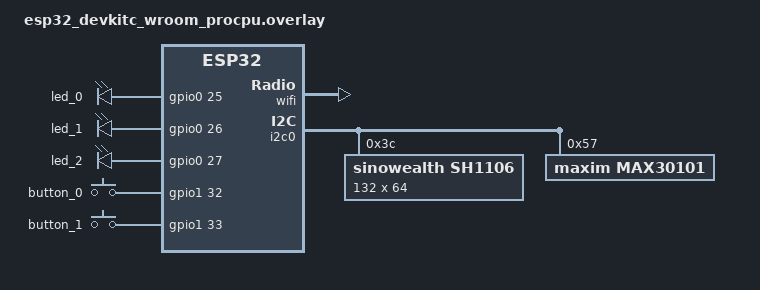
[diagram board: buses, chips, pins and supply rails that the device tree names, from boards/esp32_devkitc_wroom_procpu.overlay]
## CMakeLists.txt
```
cmake_minimum_required(VERSION 3.20.0)

find_package(Zephyr REQUIRED HINTS $ENV{ZEPHYR_BASE})
project(wifi_simple_mesh)

FILE(GLOB app_sources src/*.c)
target_sources(app PRIVATE ${app_sources})
```

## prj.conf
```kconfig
# Wi-Fi Configuration
CONFIG_WIFI=y

# Network Configuration
CONFIG_NET_CONFIG_AUTO_INIT=n
CONFIG_NET_CONNECTION_MANAGER=y
CONFIG_NET_IF_MAX_IPV4_COUNT=2
CONFIG_NET_IF_MAX_IPV6_COUNT=2
CONFIG_NET_IPV4=y
CONFIG_NET_L2_ETHERNET=y
CONFIG_NET_L2_WIFI_MGMT=y
CONFIG_NET_MGMT=y
CONFIG_NET_MGMT_EVENT=y
CONFIG_NET_MGMT_EVENT_INFO=y
CONFIG_NET_MGMT_EVENT_QUEUE_SIZE=20
CONFIG_NET_MGMT_EVENT_STACK_SIZE=4096
CONFIG_NET_PKT_RX_COUNT=16
CONFIG_NET_PKT_TX_COUNT=16
CONFIG_NET_BUF_RX_COUNT=80
CONFIG_NET_BUF_TX_COUNT=80
CONFIG_NET_SOCKETS_SERVICE_STACK_SIZE=4096
CONFIG_NET_TCP=y
CONFIG_NET_UDP=y
CONFIG_NETWORKING=y
CONFIG_NET_SOCKETS=y
CONFIG_NET_SOCKETS_POLL_MAX=12
CONFIG_POSIX_API=y

# Memory
CONFIG_KERNEL_MEM_POOL=y
CONFIG_HEAP_MEM_POOL_SIZE=46336
CONFIG_MAIN_STACK_SIZE=8192
# CONFIG_NET_BUF_DATA_SIZE=512

CONFIG_NET_DHCPV4=y
CONFIG_NET_DHCPV4_SERVER=y
CONFIG_NET_DHCPV4_SERVER_ADDR_LEASE_TIME=7200
CONFIG_NET_DHCPV4_SERVER_ADDR_COUNT=20

# LOG Configuration
CONFIG_NET_LOG=y
CONFIG_NET_DHCPV4_SERVER_LOG_LEVEL_DBG=y

#
CONFIG_GPIO=y
CONFIG_I2C=y
CONFIG_DISPLAY=y
CONFIG_SSD1306=y
CONFIG_SSD1306_DEFAULT_CONTRAST=128
CONFIG_CHARACTER_FRAMEBUFFER=y
CONFIG_SENSOR=y
```

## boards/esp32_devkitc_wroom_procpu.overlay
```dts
&wifi {
	status = "okay";
};

&i2c0 {
	sh1106: sh1106@3c {
		compatible = "sinowealth,sh1106";
		reg = <0x3c>;
		height = <64>;
		width = <132>;
		segment-offset = <0>;
		page-offset = <0>;
		display-offset = <0>;
		multiplex-ratio = <63>;
		prechargep = <0x22>;
		com-invdir;
		segment-remap;
	};
	max30101: max30101@57 {
		compatible = "maxim,max30101";
		reg = <0x57>;
	};
};

/ {
	aliases {
        led-g = &led_0;
		led-y = &led_1;
		led-r = &led_2;
		btn-top = &button_0;
		btn-bot = &button_1;
    };

	wifi_ap: wifi_ap {
		compatible = "espressif,esp32-wifi";
		status = "okay";
	};

	leds {
		compatible = "gpio-leds";
		led_0: d25 {
			gpios = <&gpio0 25 GPIO_ACTIVE_HIGH>;
		};
		led_1: d26 {
			gpios = <&gpio0 26 GPIO_ACTIVE_HIGH>;
		};
		led_2: d27 {
			gpios = <&gpio0 27 GPIO_ACTIVE_HIGH>;
		};
	};
	buttons {
		compatible = "gpio-keys";
		debounce-interval-ms = <30>;
		polling-mode;

		button_0: d32 {
			gpios = <&gpio1 32 (GPIO_ACTIVE_HIGH | GPIO_PULL_DOWN)>;
		};
		button_1: d33 {
			gpios = <&gpio1 33 (GPIO_ACTIVE_HIGH | GPIO_PULL_DOWN)>;
		};
	};
};
```

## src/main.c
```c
#include "mesh_config.h"
#include "zephyr_mesh.h"

#include <zephyr/logging/log.h>
#include <zephyr/drivers/gpio.h>

LOG_MODULE_REGISTER(MAIN);

// --- LED Timing Configuration ---
// All nodes will blink in sync using these shared timing parameters
#define LED_CYCLE_PERIOD_MS  4000  // Total LED cycle period (all nodes use the same)
#define CONN_BLINK_ON_MS     100   // Connection blink on duration
#define CONN_BLINK_OFF_MS    100   // Connection blink off duration
#define RECV_BLINK_MS        200   // Message received blink duration

// LED blink timing within the cycle (in milliseconds from cycle start)
#define BLINK1_START_MS      0
#define BLINK1_END_MS        100
#define BLINK2_START_MS      200
#define BLINK2_END_MS        300

static const struct gpio_dt_spec led_g = GPIO_DT_SPEC_GET(DT_ALIAS(led_g), gpios);
static const struct gpio_dt_spec led_y = GPIO_DT_SPEC_GET(DT_ALIAS(led_y), gpios);
static const struct gpio_dt_spec led_r = GPIO_DT_SPEC_GET(DT_ALIAS(led_r), gpios);

// --- Topology Definition ---
static const mesh_topology_t topology_map[] = {
    {1, 0}, // Node 1 is a root node (parent is router)
    {2, 1}, // Node 2's parent is Node 1
    {3, 1}, // Node 3's parent is Node 1
    {4, 3}, // Node 4's parent is Node 3
};

// --- Test Client Thread ---
static struct k_thread client_thread_data;
static k_tid_t client_tid;
K_THREAD_STACK_DEFINE(client_stack_area, 2048);

// --- LED Status Thread ---
static struct k_thread led_thread_data;
static k_tid_t led_tid;
K_THREAD_STACK_DEFINE(led_stack_area, 1024);

// --- Message received flash state ---
static volatile bool pending_recv_flash = false;

static void led_status_thread(void *arg1, void *arg2, void *arg3)
{
    LOG_INF("LED status thread started.");
    
    // Wait for clock sync before starting synchronized blinking
    LOG_INF("Waiting for clock synchronization...");
    while (!zephyr_mesh_is_clock_synced()) {
        // While waiting, show a slow amber blink to indicate "syncing"
        gpio_pin_set_dt(&led_y, 1);
        k_sleep(K_MSEC(500));
        gpio_pin_set_dt(&led_y, 0);
        k_sleep(K_MSEC(500));
    }
    LOG_INF("Clock synchronized! Starting synchronized LED blinking.");
    
    while (1) {
        // Get the synchronized mesh time
        int64_t mesh_time = zephyr_mesh_get_time_ms();
        
        // Calculate position within the LED cycle
        int64_t cycle_position = mesh_time % LED_CYCLE_PERIOD_MS;
        
        // Check for received messages - blink yellow LED
        if (zephyr_mesh_received_a_message()) {
            pending_recv_flash = true;
        }
        
        // Handle message received flash (takes priority, shown briefly)
        if (pending_recv_flash) {
            gpio_pin_set_dt(&led_y, 1);
            k_sleep(K_MSEC(RECV_BLINK_MS));
            gpio_pin_set_dt(&led_y, 0);
            pending_recv_flash = false;
            continue;  // Re-check timing after flash
        }
        
        // Connection status LED - synchronized double blink
        bool connected = zephyr_mesh_is_connected();
        
        // Determine if we should be ON based on cycle position
        bool should_be_on = false;
        if (cycle_position >= BLINK1_START_MS && cycle_position < BLINK1_END_MS) {
            should_be_on = true;
        } else if (cycle_position >= BLINK2_START_MS && cycle_position < BLINK2_END_MS) {
            should_be_on = true;
        }
        
        // Set LED state
        gpio_pin_set_dt(&led_g, (connected && should_be_on) ? 1 : 0);
        gpio_pin_set_dt(&led_r, (!connected && should_be_on) ? 1 : 0);
        
        // Calculate sleep time until next state change
        int64_t next_change;
        if (cycle_position < BLINK1_START_MS) {
            next_change = BLINK1_START_MS;
        } else if (cycle_position < BLINK1_END_MS) {
            next_change = BLINK1_END_MS;
        } else if (cycle_position < BLINK2_START_MS) {
            next_change = BLINK2_START_MS;
        } else if (cycle_position < BLINK2_END_MS) {
            next_change = BLINK2_END_MS;
        } else {
            // Wait until next cycle
            next_change = LED_CYCLE_PERIOD_MS;
        }
        
        int64_t sleep_time = next_change - cycle_position;
        if (sleep_time < 10) {
            sleep_time = 10;  // Minimum sleep to avoid busy spinning
        }
        
        k_sleep(K_MSEC(sleep_time));
    }
}

static void client_thread(void *arg1, void *arg2, void *arg3)
{
    LOG_INF("Client (sender) thread started.");
    
    // Wait for clock sync before starting test packets
    while (!zephyr_mesh_is_clock_synced()) {
        k_sleep(K_MSEC(100));
    }
    LOG_INF("Clock synced, will start sending test packets.");
    
    while (1) {
        k_sleep(K_SECONDS(15));

        // --- TEST CASES ---
        // All child nodes send packets up to Node 1
        if (NODE_ID == 2) {
            LOG_INF("Node 2 sending test packet to Node 1...");
            zephyr_mesh_send_packet(1, "Hello from Node 2!");
        }
        if (NODE_ID == 3) {
            LOG_INF("Node 3 sending test packet to Node 1...");
            zephyr_mesh_send_packet(1, "Hello from Node 3!");
        }
        if (NODE_ID == 4) {
            LOG_INF("Node 4 sending test packet to Node 1...");
            zephyr_mesh_send_packet(1, "Hello from Node 4!");
            
            // Also test sending to Node 2 (requires routing through Node 3 -> Node 1 -> Node 2)
            k_sleep(K_SECONDS(2));
            LOG_INF("Node 4 sending test packet to Node 2...");
            zephyr_mesh_send_packet(2, "Hello from Node 4 to Node 2!");
        }

        // Root node sends replies back down
        if (NODE_ID == 1) {
            k_sleep(K_SECONDS(10)); // Stagger sends
            LOG_INF("Node 1 sending test packet to Node 2...");
            zephyr_mesh_send_packet(2, "Reply from Node 1 to Node 2!");
            
            k_sleep(K_SECONDS(2));
            LOG_INF("Node 1 sending test packet to Node 3...");
            zephyr_mesh_send_packet(3, "Reply from Node 1 to Node 3!");
            
            k_sleep(K_SECONDS(2));
            LOG_INF("Node 1 sending test packet to Node 4...");
            zephyr_mesh_send_packet(4, "Reply from Node 1 to Node 4!");
        }
        
        // Periodically log the mesh time for debugging
        LOG_INF("Current mesh time: %lld ms", zephyr_mesh_get_time_ms());
    }
}

// --- Main ---
int main(void)
{
    k_sleep(K_SECONDS(4));
    LOG_INF("--- ESP32 Zephyr Mesh Node %d ---", NODE_ID);
    
    // Initialize LEDs
    if (!gpio_is_ready_dt(&led_g) || !gpio_is_ready_dt(&led_y) || !gpio_is_ready_dt(&led_r)) {
        LOG_ERR("LED GPIO devices not ready!");
        return -1;
    }
    
    gpio_pin_configure_dt(&led_g, GPIO_OUTPUT_INACTIVE);
    gpio_pin_configure_dt(&led_y, GPIO_OUTPUT_INACTIVE);
    gpio_pin_configure_dt(&led_r, GPIO_OUTPUT_INACTIVE);
    LOG_INF("LEDs initialized.");
    
    // Initialize the mesh module (starts server and sets up Wi-Fi)
    zephyr_mesh_init();
    
    // Configure and start the mesh (this builds routing table and begins scanning)
    zephyr_mesh_start(topology_map, ARRAY_SIZE(topology_map));

    // Start the LED status thread
    led_tid = k_thread_create(&led_thread_data,
                    led_stack_area,
                    K_THREAD_STACK_SIZEOF(led_stack_area),
                    led_status_thread,
                    NULL, NULL, NULL,
                    K_PRIO_PREEMPT(7),
                    0, K_NO_WAIT);

    // Start the test sender thread
    client_tid = k_thread_create(&client_thread_data,
                    client_stack_area,
                    K_THREAD_STACK_SIZEOF(client_stack_area),
                    client_thread,
                    NULL, NULL, NULL,
                    K_PRIO_PREEMPT(8),
                    0, K_NO_WAIT);

    return 0;
}
```

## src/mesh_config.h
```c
#ifndef MESH_CONFIG_H
#define MESH_CONFIG_H

#include <zephyr/kernel.h>
#include <zephyr/net/socket.h>

//==================================================================================
// ---  Mesh Node Configuration ---
//==================================================================================
// !! IMPORTANT !!
// !! Set this ID for each node before flashing. This defines the mesh topology. !!
#define NODE_ID 4
//==================================================================================

#define STR_HELPER(x) #x
#define STR(x) STR_HELPER(x)

// --- Wi-Fi AP Mode Configuration ---
#define WIFI_AP_PSK         "" // "" for an open network.
#define WIFI_AP_IP_ADDRESS  "192.168."STR(NODE_ID)".1"
#define WIFI_AP_NETMASK     "255.255.255.0"
#define WIFI_AP_BROADCAST_ADDRESS "192.168."STR(NODE_ID)".255"


// --- Wi-Fi STA Mode Configuration (for the root node) ---
#define ROUTER_SSID  "0x00"      // <<<<<<< REPLACE WITH WIFI SSID
#define ROUTER_PSK   "00000000"  // <<<<<<< REPLACE WITH WIFI PASSWORD

// --- Mesh Logic Configuration ---
#define RETRY_DELAY_S 5
#define MESH_PORT 8080
#define MAX_CHILD_NODES 5
#define PACKET_TTL_MAX 10
#define MAX_ROUTING_ENTRIES 20

// --- Clock Synchronization Configuration ---
#define CLOCK_SYNC_RETRY_MS     1000    // Retry sync every 1 second if not synced
#define CLOCK_SYNC_TIMEOUT_MS   500     // Timeout waiting for sync response

// --- Shared Data Structures ---

typedef struct {
    int node_id;
    int parent_id;
} mesh_topology_t;

// Packet types for mesh communication
typedef enum {
    MESH_PACKET_DATA = 0,       // Normal data packet
    MESH_PACKET_CLOCK_REQ = 1,  // Clock sync request (child -> parent)
    MESH_PACKET_CLOCK_RESP = 2, // Clock sync response (parent -> child)
    MESH_PACKET_REGISTER = 3,   // Registration request (child -> parent)
    MESH_PACKET_REGISTER_ACK = 4, // Registration acknowledgment (parent -> child)
} mesh_packet_type_t;

struct mesh_packet {
    uint8_t type;       // mesh_packet_type_t
    uint8_t target_id;
    uint8_t source_id;
    uint8_t ttl;
    union {
        char payload[128];              // For DATA packets
        struct {
            int64_t mesh_time_ms;       // Mesh time in milliseconds
            int64_t request_time_ms;    // Original request time (for RTT calculation)
        } clock_sync;                   // For CLOCK_REQ and CLOCK_RESP packets
        struct {
            uint8_t node_id;            // Registering node's ID
            int64_t mesh_time_ms;       // For REGISTER_ACK: current mesh time
        } registration;                 // For REGISTER and REGISTER_ACK packets
    };
};

// Routing table entry
typedef struct {
    uint8_t dest_node_id;      // Destination node
    uint8_t next_hop_node_id;  // Next hop (parent or child)
    bool is_via_parent;        // true = forward to parent, false = forward to child
} route_entry_t;

// Child node tracking
typedef struct {
    uint8_t node_id;
    struct in_addr ip_addr;
    bool is_active;
} child_node_t;

#endif // MESH_CONFIG_H
```

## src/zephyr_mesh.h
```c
#ifndef ZEPHYR_MESH_H
#define ZEPHYR_MESH_H

#include "mesh_config.h"

/**
 * @brief Initialize the Zephyr Mesh module.
 *
 * This starts the server thread to listen for incoming packets
 * and initializes the Wi-Fi event handlers.
 */
void zephyr_mesh_init(void);

/**
 * @brief Configure and start the Wi-Fi and networking process.
 *
 * This will configure the node based on its ID and the map,
 * build the routing table, then start the scan/connect process.
 *
 * @param map       Pointer to the mesh topology map.
 * @param map_size  Number of entries in the map.
 */
void zephyr_mesh_start(const mesh_topology_t *map, int map_size);

/**
 * @brief Send a data packet through the mesh network.
 *
 * This function sends a packet to any node in the mesh using the
 * routing table to determine the correct next hop (parent or child).
 *
 * @param target    The destination NODE_ID.
 * @param payload   A null-terminated string to send.
 * @return 0 on success, negative error code on failure.
 */
int zephyr_mesh_send_packet(uint8_t target, const char *payload);

/**
 * @brief Send a data packet directly to a connected child node.
 *
 * This function is for nodes that have an Access Point (AP) running
 * and want to send directly to one of their children.
 *
 * @param target    The destination child NODE_ID.
 * @param payload   A null-terminated string to send.
 * @return 0 on success, negative error code on failure.
 */
int zephyr_mesh_send_to_child(uint8_t target, const char *payload);

/**
 * @brief Check if this node is configured as the root.
 * @return true if this is the root node, false otherwise.
 */
bool zephyr_mesh_is_root(void);

/**
 * @brief Check if the node is currently connected to its parent.
 * @return true if connected, false otherwise.
 */
bool zephyr_mesh_is_connected(void);

/**
 * @brief Check if the node received any message since last check.
 * This function clears the flag after reading.
 * @return true if received, false otherwise.
 */
bool zephyr_mesh_received_a_message(void);

/**
 * @brief Get the synchronized mesh time in milliseconds.
 *
 * For the root node, this returns the uptime since boot.
 * For child nodes, this returns the local time adjusted by
 * the clock offset calculated during synchronization.
 *
 * @return Synchronized mesh time in milliseconds.
 */
int64_t zephyr_mesh_get_time_ms(void);

/**
 * @brief Check if the node's clock is synchronized with the mesh.
 *
 * The root node is always considered synchronized.
 * Child nodes are synchronized after receiving a clock response
 * from their parent.
 *
 * @return true if synchronized, false otherwise.
 */
bool zephyr_mesh_is_clock_synced(void);

/**
 * @brief Check if the node is registered with its parent.
 *
 * The root node is always considered registered.
 * Child nodes are registered after receiving a registration ACK
 * from their parent.
 *
 * @return true if registered, false otherwise.
 */
bool zephyr_mesh_is_registered(void);

#endif // ZEPHYR_MESH_H
```
